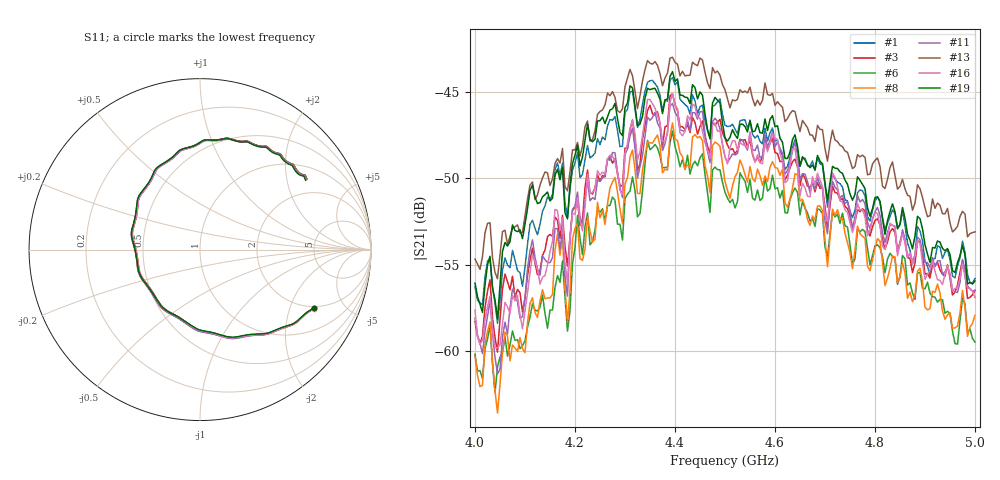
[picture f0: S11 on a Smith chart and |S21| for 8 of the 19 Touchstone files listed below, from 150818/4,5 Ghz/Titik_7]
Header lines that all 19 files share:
# Hz S RI R 50
! CMT, C1220, 16058040, 17.2.0/1
! Data: Format (Calibration Info)
! Freq  S11: Re/Im (F2)  S21: Re/Im (F2)  S12: Re/Im (F2)  S22: Re/Im (F2)
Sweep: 4 GHz to 5 GHz
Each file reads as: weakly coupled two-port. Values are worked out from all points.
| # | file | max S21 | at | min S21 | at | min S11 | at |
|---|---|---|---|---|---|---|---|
| 1 | Sudut_10_Titik_7.s2p | -44.18 dB | 4.395 GHz | -58.4 dB | 4.045 GHz | -8.6 dB | 4.36 GHz |
| 2 | Sudut_20_Titik_7.s2p | -44.94 dB | 4.395 GHz | -60.0 dB | 4.045 GHz | -8.7 dB | 4.36 GHz |
| 3 | Sudut_30_Titik_7.s2p | -45.10 dB | 4.395 GHz | -60.1 dB | 4.045 GHz | -8.7 dB | 4.36 GHz |
| 4 | Sudut_40_Titik_7.s2p | -45.53 dB | 4.395 GHz | -60.2 dB | 4.045 GHz | -8.6 dB | 4.36 GHz |
| 5 | Sudut_60_Titik_7.s2p | -46.77 dB | 4.395 GHz | -62.1 dB | 4.04 GHz | -8.6 dB | 4.36 GHz |
| 6 | Sudut_70_Titik_7.s2p | -47.27 dB | 4.395 GHz | -62.4 dB | 4.04 GHz | -8.5 dB | 4.36 GHz |
| 7 | Sudut_90_Titik_7.s2p | -47.33 dB | 4.395 GHz | -63.0 dB | 4.04 GHz | -8.6 dB | 4.36 GHz |
| 8 | Sudut_110_Titik_7.s2p | -46.80 dB | 4.395 GHz | -63.6 dB | 4.045 GHz | -8.7 dB | 4.36 GHz |
| 9 | Sudut_120_Titik_7.s2p | -46.16 dB | 4.395 GHz | -62.8 dB | 4.045 GHz | -8.6 dB | 4.36 GHz |
| 10 | Sudut_130_Titik_7.s2p | -46.01 dB | 4.395 GHz | -61.6 dB | 4.045 GHz | -8.5 dB | 4.36 GHz |
| 11 | Sudut_140_Titik_7.s2p | -45.66 dB | 4.395 GHz | -61.3 dB | 4.045 GHz | -8.5 dB | 4.36 GHz |
| 12 | Sudut_150_Titik_7.s2p | -44.77 dB | 4.395 GHz | -60.7 dB | 4.05 GHz | -8.6 dB | 4.36 GHz |
| 13 | Sudut_220_Titik_7.s2p | -42.99 dB | 4.395 GHz | -55.8 dB | 4.045 GHz | -8.5 dB | 4.36 GHz |
| 14 | Sudut_240_Titik_7.s2p | -44.85 dB | 4.345 GHz | -58.2 dB | 4.045 GHz | -8.5 dB | 4.36 GHz |
| 15 | Sudut_280_Titik_7.s2p | -45.73 dB | 4.395 GHz | -62.7 dB | 4.045 GHz | -8.7 dB | 4.36 GHz |
| 16 | Sudut_310_Titik_7.s2p | -45.09 dB | 4.395 GHz | -59.8 dB | 4.045 GHz | -8.6 dB | 4.36 GHz |
| 17 | Sudut_320_Titik_7.s2p | -44.74 dB | 4.395 GHz | -59.7 dB | 4.045 GHz | -8.6 dB | 4.36 GHz |
| 18 | Sudut_350_Titik_7.s2p | -43.93 dB | 4.395 GHz | -57.4 dB | 4.045 GHz | -8.6 dB | 4.315 GHz |
| 19 | Sudut_360_Titik_7.s2p | -43.83 dB | 4.395 GHz | -58.2 dB | 4.045 GHz | -8.6 dB | 4.315 GHz |
